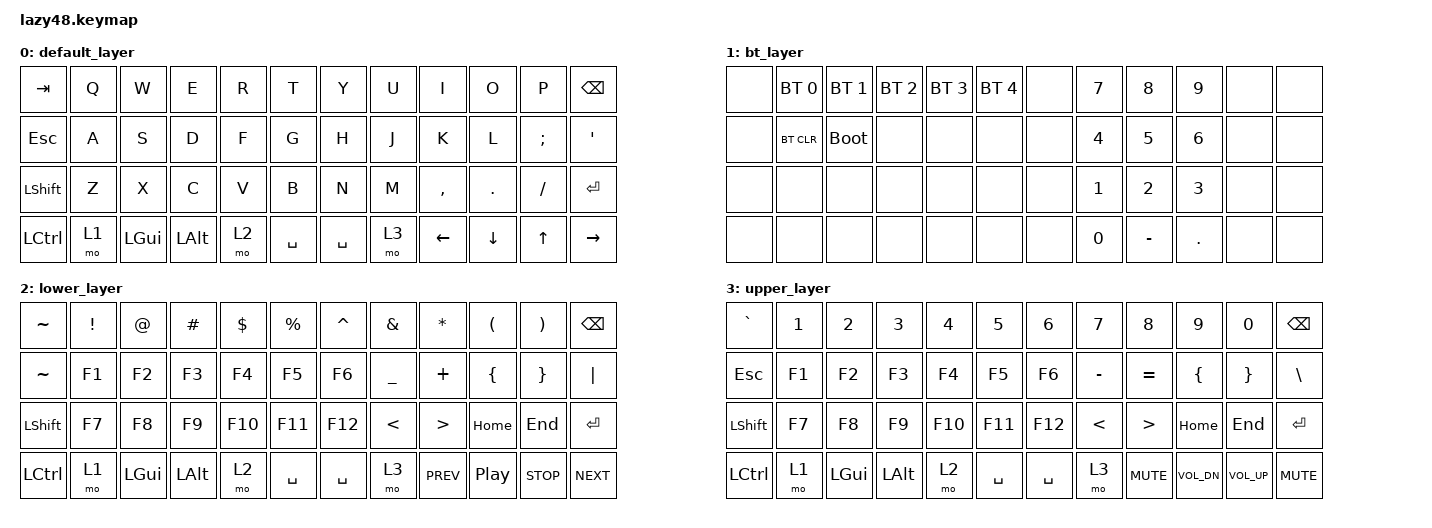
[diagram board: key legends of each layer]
/*
 * Copyright (c) 2022 The ZMK Contributors
 *
 * SPDX-License-Identifier: MIT
 */

#include <behaviors.dtsi>
#include <dt-bindings/zmk/keys.h>
#include <dt-bindings/zmk/bt.h>

/ {
    keymap {
        compatible = "zmk,keymap";

        default_layer {
            bindings = <
                &kp TAB   &kp Q   &kp W   &kp E   &kp R   &kp T   &kp Y   &kp U   &kp I   &kp O   &kp P   &kp BSPC
                &kp ESC   &kp A   &kp S   &kp D   &kp F   &kp G   &kp H   &kp J   &kp K   &kp L   &kp SEMI   &kp APOS
                &kp LSHFT &kp Z   &kp X   &kp C   &kp V   &kp B   &kp N   &kp M   &kp COMMA &kp DOT &kp FSLH &kp RET
                &kp LCTRL &mo 1   &kp LGUI &kp LALT &mo 2 &kp SPACE &kp SPACE &mo 3 &kp LEFT &kp DOWN &kp UP &kp RIGHT
            >;
        };

        bt_layer {
            bindings = <
                &none   &bt BT_SEL 0   &bt BT_SEL 1   &bt BT_SEL 2   &bt BT_SEL 3   &bt BT_SEL 4   &none   &kp N7   &kp N8   &kp N9  &none   &none
                &none   &bt BT_CLR  &bootloader   &none   &none   &none   &none   &kp N4   &kp N5   &kp N6   &none   &none
                &none   &none   &none   &none   &none   &none   &none   &kp N1   &kp N2   &kp N3   &none   &none
                &none   &none   &none   &none   &none   &none   &none   &kp N0   &kp MINUS   &kp DOT   &none   &none
            >;
        };

        lower_layer {
            bindings = <
                &kp TILDE   &kp EXCL   &kp AT   &kp HASH   &kp DOLLAR   &kp PRCNT   &kp CARET   &kp AMPS   &kp ASTRK   &kp LPAR   &kp RPAR   &kp BSPC
                &kp TILDE   &kp F1   &kp F2   &kp F3   &kp F4   &kp F5   &kp F6  &kp UNDER   &kp PLUS   &kp LBRC   &kp RBRC   &kp PIPE
                &kp LSHFT &kp F7   &kp F8   &kp F9   &kp F10   &kp F11   &kp F12   &kp LT   &kp GT &kp HOME &kp END &kp RET
                &kp LCTRL &mo 1   &kp LGUI &kp LALT &mo 2 &kp SPACE &kp SPACE &mo 3 &kp C_PREV &kp C_PP &kp C_STOP &kp C_NEXT
            >;
        };

        upper_layer {
            bindings = <
                &kp GRAVE   &kp N1   &kp N2   &kp N3   &kp N4   &kp N5   &kp N6   &kp N7   &kp N8   &kp N9   &kp N0   &kp BSPC
                &kp ESC   &kp F1   &kp F2   &kp F3   &kp F4   &kp F5   &kp F6  &kp MINUS   &kp EQUAL   &kp LBRC   &kp RBRC   &kp BSLH
                &kp LSHFT &kp F7   &kp F8   &kp F9   &kp F10   &kp F11   &kp F12   &kp LT   &kp GT &kp HOME &kp END &kp RET
                &kp LCTRL &mo 1   &kp LGUI &kp LALT &mo 2 &kp SPACE &kp SPACE &mo 3 &kp C_MUTE &kp C_VOL_DN &kp C_VOL_UP &kp C_MUTE
            >;
        };
    };
};
